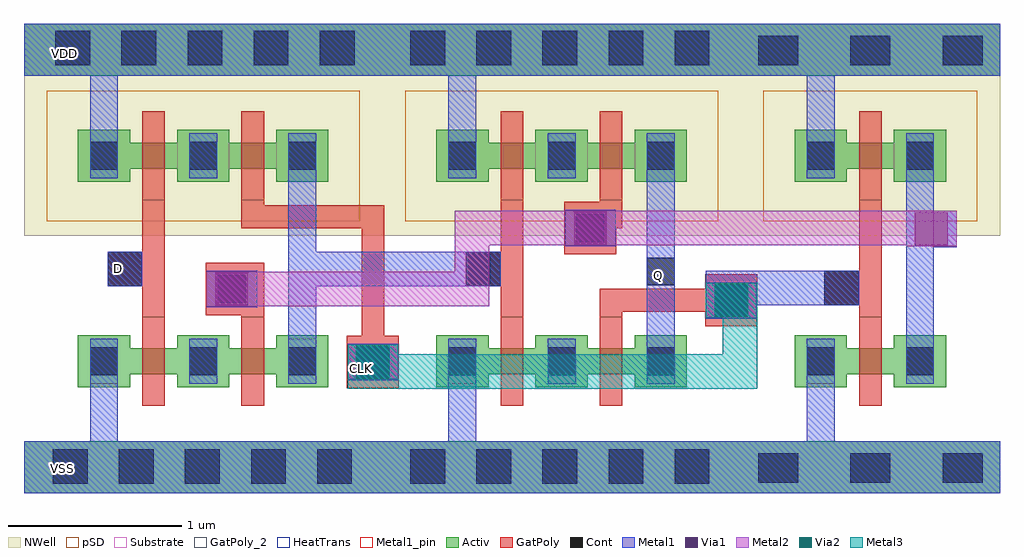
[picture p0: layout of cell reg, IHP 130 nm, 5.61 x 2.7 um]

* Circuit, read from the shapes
.subckt reg CLK D Q VDD VSS
XM1 n1 D VSS VSS sg13_lv_nmos w=0.15u l=0.13u
XM2 n2 inv_2/VOUT n1 VSS sg13_lv_nmos w=0.15u l=0.13u
XM3 n3 n2 VSS VSS sg13_lv_nmos w=0.15u l=0.13u
XM4 Q CLK n3 VSS sg13_lv_nmos w=0.15u l=0.13u
XM5 inv_2/VOUT CLK VSS VSS sg13_lv_nmos w=0.15u l=0.13u
XM6 n4 D VDD VDD sg13_lv_pmos w=0.15u l=0.13u
XM7 n2 CLK n4 VDD sg13_lv_pmos w=0.15u l=0.13u
XM8 n5 n2 VDD VDD sg13_lv_pmos w=0.15u l=0.13u
XM9 Q inv_2/VOUT n5 VDD sg13_lv_pmos w=0.15u l=0.13u
XM10 inv_2/VOUT CLK VDD VDD sg13_lv_pmos w=0.15u l=0.13u
.ends

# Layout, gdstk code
import gdstk
lib = gdstk.Library(unit=1e-6, precision=5e-09)
def R(c, l, rs):  # rectangles x0, y0, x1, y1
    for r in rs: c.add(gdstk.rectangle(r[:2], r[2:], *l))
def A(c, l, x, y, w, h, nx, ny, dx, dy):  # array of equal rectangles
    R(c, l, [(x+i*dx, y+j*dy, x+i*dx+w, y+j*dy+h) for i in range(nx) for j in range(ny)])
Activ = (1, 0)
GatPoly = (5, 0)
GatPoly_2 = (5, 2)
Cont = (6, 0)
Metal1 = (8, 0)
Metal1_pin = (8, 2)
Metal2 = (10, 0)
pSD = (14, 0)
Via1 = (19, 0)
Via2 = (29, 0)
Metal3 = (30, 0)
NWell = (31, 0)
Substrate = (40, 0)
HeatTrans = (51, 0)

nmos_1 = lib.new_cell('nmos$1')
R(nmos_1, Activ, [(0,0,0.3,0.3), (0.57,0,0.87,0.3), (0,0.075,0.87,0.225)])
R(nmos_1, GatPoly, [(0.37,-0.105,0.5,0.405)])
R(nmos_1, GatPoly_2, [(0.37,-0.105,0.5,0.405)])
R(nmos_1, Cont, [(0.07,0.07,0.23,0.23), (0.64,0.07,0.8,0.23)])
R(nmos_1, Metal1, [(0.07,0.02,0.23,0.28), (0.64,0.02,0.8,0.28)])
R(nmos_1, Metal1_pin, [(0.07,0.02,0.23,0.28), (0.64,0.02,0.8,0.28)])
R(nmos_1, HeatTrans, [(0.37,-0.105,0.5,0.405)])
nmos_1.add(gdstk.Label('nmos', (0.435,0.15), layer=63, texttype=0))
nmos_1.add(gdstk.Label('nmos', (0.435,0.15), layer=51, texttype=0))

pmos_1 = lib.new_cell('pmos$1')
R(pmos_1, Activ, [(0,0,0.3,0.3), (0.57,0,0.87,0.3), (0,0.075,0.87,0.225)])
R(pmos_1, GatPoly, [(0.37,-0.105,0.5,0.405), (0.37,-0.105,0.5,0.405)])
R(pmos_1, Cont, [(0.07,0.07,0.23,0.23), (0.64,0.07,0.8,0.23)])
R(pmos_1, Metal1, [(0.07,0.02,0.23,0.28), (0.07,0.02,0.23,0.28), (0.64,0.02,0.8,0.28), (0.64,0.02,0.8,0.28)])
R(pmos_1, pSD, [(-0.18,-0.225,1.05,0.525)])
R(pmos_1, NWell, [(-0.31,-0.31,1.18,0.61)])
R(pmos_1, Substrate, [(0.57,0,0.87,0.3)])
R(pmos_1, HeatTrans, [(0.37,-0.105,0.5,0.405)])
pmos_1.add(gdstk.Label('pmos', (0.435,0.15), layer=63, texttype=0))
pmos_1.add(gdstk.Label('pmos', (0.435,0.15), layer=51, texttype=0))

pmos_1_1 = lib.new_cell('pmos$1$1')
R(pmos_1_1, Activ, [(0,0,0.3,0.3), (0.57,0,0.87,0.3), (0,0.075,0.87,0.225)])
R(pmos_1_1, GatPoly, [(0.37,-0.105,0.5,0.405), (0.37,-0.105,0.5,0.405)])
R(pmos_1_1, Cont, [(0.07,0.07,0.23,0.23), (0.64,0.07,0.8,0.23)])
R(pmos_1_1, Metal1, [(0.07,0.02,0.23,0.28), (0.07,0.02,0.23,0.28), (0.64,0.02,0.8,0.28), (0.64,0.02,0.8,0.28)])
R(pmos_1_1, pSD, [(-0.18,-0.225,1.05,0.525)])
R(pmos_1_1, NWell, [(-0.31,-0.31,1.18,0.61)])
R(pmos_1_1, Substrate, [(0.57,0,0.87,0.3)])
R(pmos_1_1, HeatTrans, [(0.37,-0.105,0.5,0.405)])
pmos_1_1.add(gdstk.Label('pmos', (0.435,0.15), layer=63, texttype=0))
pmos_1_1.add(gdstk.Label('pmos', (0.435,0.15), layer=51, texttype=0))

nmos_1_1 = lib.new_cell('nmos$1$1')
R(nmos_1_1, Activ, [(0,0,0.3,0.3), (0.57,0,0.87,0.3), (0,0.075,0.87,0.225)])
R(nmos_1_1, GatPoly, [(0.37,-0.105,0.5,0.405)])
R(nmos_1_1, GatPoly_2, [(0.37,-0.105,0.5,0.405)])
R(nmos_1_1, Cont, [(0.07,0.07,0.23,0.23), (0.64,0.07,0.8,0.23)])
R(nmos_1_1, Metal1, [(0.07,0.02,0.23,0.28), (0.64,0.02,0.8,0.28)])
R(nmos_1_1, Metal1_pin, [(0.07,0.02,0.23,0.28), (0.64,0.02,0.8,0.28)])
R(nmos_1_1, HeatTrans, [(0.37,-0.105,0.5,0.405)])
nmos_1_1.add(gdstk.Label('nmos', (0.435,0.15), layer=63, texttype=0))
nmos_1_1.add(gdstk.Label('nmos', (0.435,0.15), layer=51, texttype=0))

inv = lib.new_cell('inv')
R(inv, Activ, [(0.24,0.255,1.73,0.555), (0.24,0.255,1.73,0.555), (0.24,2.655,1.73,2.955), (0.24,2.655,1.73,2.955)])
R(inv, GatPoly, [(0.92,0.76,1.05,2.45), (0.92,0.76,1.05,2.45), (0.72,1.335,0.92,1.535), (0.72,1.335,0.92,1.535)])
R(inv, Cont, [(0.34,0.315,0.57,0.485), (0.34,0.315,0.57,0.485), (0.87,0.315,1.1,0.485), (0.87,0.315,1.1,0.485), (1.4,0.315,1.63,0.485), (1.4,0.315,1.63,0.485), (0.72,1.335,0.92,1.535), (0.72,1.335,0.92,1.535), (0.34,2.715,0.57,2.885), (0.34,2.715,0.57,2.885), (0.87,2.715,1.1,2.885), (0.87,2.715,1.1,2.885), (1.4,2.715,1.63,2.885), (1.4,2.715,1.63,2.885)])
R(inv, Metal1, [(0.24,0.255,1.73,0.555), (0.24,0.255,1.73,0.555), (0.62,0.255,0.78,1.145), (0.62,0.255,0.78,1.145), (1.19,0.885,1.35,2.325), (1.19,0.885,1.35,2.325), (0.72,1.335,0.92,1.535), (0.72,1.335,0.92,1.535), (0.62,2.065,0.78,2.955), (0.62,2.065,0.78,2.955), (0.24,2.655,1.73,2.955), (0.24,2.655,1.73,2.955)])
R(inv, Metal1_pin, [(0.24,0.255,1.73,0.555), (0.24,0.255,1.73,0.555), (1.19,0.885,1.35,2.325), (1.19,0.885,1.35,2.325), (0.72,1.335,0.92,1.535), (0.72,1.335,0.92,1.535), (0.24,2.655,1.73,2.955), (0.24,2.655,1.73,2.955)])
R(inv, pSD, [(0.24,0.255,1.73,0.555), (0.24,0.255,1.73,0.555)])
R(inv, NWell, [(0.24,2.655,1.73,2.955), (0.24,2.655,1.73,2.955)])
inv.add(gdstk.Reference(pmos_1, (0.55,2.045)))
inv.add(gdstk.Reference(nmos_1, (0.55,0.865)))
inv.add(gdstk.Reference(pmos_1_1, (0.55,2.045)))
inv.add(gdstk.Reference(nmos_1_1, (0.55,0.865)))
inv.add(gdstk.Label('VIN', (0.78,1.435), layer=8, texttype=25))
inv.add(gdstk.Label('VSS', (0.95,0.37), layer=8, texttype=25))
inv.add(gdstk.Label('VOUT', (1.2,1.665), layer=8, texttype=25))
inv.add(gdstk.Label('VDD', (0.96,2.805), layer=8, texttype=25))
inv.add(gdstk.Label('VIN', (0.78,1.435), layer=8, texttype=25))
inv.add(gdstk.Label('VSS', (0.95,0.37), layer=8, texttype=25))
inv.add(gdstk.Label('VOUT', (1.2,1.665), layer=8, texttype=25))
inv.add(gdstk.Label('VDD', (0.96,2.805), layer=8, texttype=25))

pmos = lib.new_cell('pmos')
R(pmos, Activ, [(0,0,0.3,0.3), (0.57,0,0.87,0.3), (0,0.075,0.87,0.225)])
R(pmos, GatPoly, [(0.37,-0.105,0.5,0.405), (0.37,-0.105,0.5,0.405)])
R(pmos, Cont, [(0.07,0.07,0.23,0.23), (0.64,0.07,0.8,0.23)])
R(pmos, Metal1, [(0.07,0.02,0.23,0.28), (0.07,0.02,0.23,0.28), (0.64,0.02,0.8,0.28), (0.64,0.02,0.8,0.28)])
R(pmos, pSD, [(-0.18,-0.225,1.05,0.525)])
R(pmos, NWell, [(-0.31,-0.31,1.18,0.61)])
R(pmos, Substrate, [(0.57,0,0.87,0.3)])
R(pmos, HeatTrans, [(0.37,-0.105,0.5,0.405)])
pmos.add(gdstk.Label('pmos', (0.435,0.15), layer=63, texttype=0))
pmos.add(gdstk.Label('pmos', (0.435,0.15), layer=51, texttype=0))

via_stack_1 = lib.new_cell('via_stack$1')
R(via_stack_1, GatPoly, [(-0.15,-0.15,0.15,0.15)])
R(via_stack_1, Cont, [(-0.08,-0.08,0.08,0.08)])
R(via_stack_1, Metal1, [(-0.145,-0.105,0.145,0.105)])
R(via_stack_1, Metal2, [(-0.145,-0.1,0.145,0.1)])
R(via_stack_1, Via1, [(-0.095,-0.095,0.095,0.095)])

via_stack = lib.new_cell('via_stack')
R(via_stack, GatPoly, [(-0.15,-0.15,0.15,0.15)])
R(via_stack, Cont, [(-0.08,-0.08,0.08,0.08)])
R(via_stack, Metal1, [(-0.145,-0.105,0.145,0.105)])
R(via_stack, Metal2, [(-0.145,-0.1,0.145,0.1)])
R(via_stack, Via1, [(-0.095,-0.095,0.095,0.095)])
R(via_stack, Via2, [(-0.095,-0.095,0.095,0.095)])
R(via_stack, Metal3, [(-0.145,-0.1,0.145,0.1)])

via_stack_4 = lib.new_cell('via_stack$4')
R(via_stack_4, Metal1, [(-0.145,-0.105,0.145,0.105)])
R(via_stack_4, Metal2, [(-0.145,-0.1,0.145,0.1)])
R(via_stack_4, Via1, [(-0.095,-0.095,0.095,0.095)])

reg = lib.new_cell('reg')
R(reg, Activ, [(0.045,0.69,2.105,0.99), (2.105,0.69,4.165,0.99), (0.045,3.09,2.105,3.39), (2.105,3.09,4.165,3.39)])
R(reg, GatPoly, [(0.725,1.195,0.855,2.885), (2.785,1.195,2.915,2.885), (1.985,1.365,2.115,2.345), (1.295,1.705,1.425,2.015), (3.355,1.705,3.485,1.865), (3.355,1.735,4.165,1.865), (0.525,1.88,0.725,2.08), (2.585,1.88,2.785,2.08), (1.295,2.215,1.425,2.375), (1.295,2.215,2.105,2.345), (3.355,2.215,3.485,2.375)])
A(reg, Cont, 0.21, 0.745, 0.2, 0.2, 5, 1, 0.38, 0)
A(reg, Cont, 2.265, 0.745, 0.2, 0.2, 5, 2, 0.38, 2.405)
A(reg, Cont, 0.225, 3.15, 0.2, 0.2, 5, 1, 0.38, 0)
R(reg, Cont, [(0.525,1.88,0.725,2.08), (2.585,1.88,2.785,2.08), (3.625,1.885,3.785,2.045)])
R(reg, Metal1, [(0.045,0.69,2.105,0.99), (0.425,0.69,0.585,1.58), (2.105,0.69,4.165,0.99), (2.485,0.69,2.645,1.58), (1.565,1.32,1.725,2.76), (3.625,1.32,3.785,2.76), (3.965,1.77,4.845,1.97), (0.525,1.88,0.725,2.08), (1.565,1.88,2.785,2.08), (2.585,1.88,2.785,2.08), (0.425,2.5,0.585,3.39), (2.485,2.5,2.645,3.39), (0.045,3.09,2.105,3.39), (2.105,3.09,4.165,3.39)])
R(reg, Metal1_pin, [(0.045,0.69,2.105,0.99), (0.045,0.69,2.105,0.99), (2.105,0.69,4.165,0.99), (2.105,0.69,4.165,0.99), (3.625,1.32,3.785,2.76), (0.525,1.88,0.725,2.08), (2.585,1.88,2.785,2.08), (0.045,3.09,2.105,3.39), (0.045,3.09,2.105,3.39), (2.105,3.09,4.165,3.39), (2.105,3.09,4.165,3.39)])
R(reg, Metal2, [(1.095,1.765,2.72,1.965), (2.52,1.765,2.72,2.315), (2.52,2.115,5.405,2.315)])
R(reg, pSD, [(0.045,0.69,2.105,0.99), (2.105,0.69,4.165,0.99)])
R(reg, Metal3, [(1.905,1.29,4.26,1.49), (4.06,1.29,4.26,1.9)])
R(reg, NWell, [(0.045,3.09,2.105,3.39), (2.105,3.09,4.165,3.39)])
reg.add(gdstk.Reference(nmos_1, (0.355,1.3)))
reg.add(gdstk.Reference(nmos_1, (0.925,1.3)))
reg.add(gdstk.Reference(inv, (3.925,0.435)))
reg.add(gdstk.Reference(pmos, (0.925,2.48)))
reg.add(gdstk.Reference(pmos, (0.355,2.48)))
reg.add(gdstk.Reference(nmos_1, (2.985,1.3)))
reg.add(gdstk.Reference(pmos, (2.985,2.48)))
reg.add(gdstk.Reference(nmos_1, (2.415,1.3)))
reg.add(gdstk.Reference(pmos, (2.415,2.48)))
reg.add(gdstk.Reference(via_stack_1, (1.24,1.865)))
reg.add(gdstk.Reference(via_stack_1, (3.3,2.215)))
reg.add(gdstk.Reference(via_stack, (2.05,1.445)))
reg.add(gdstk.Reference(via_stack, (4.11,1.8)))
reg.add(gdstk.Reference(via_stack_4, (5.26,2.21)))
reg.add(gdstk.Label('VSS', (0.265,0.835), layer=8, texttype=25))
reg.add(gdstk.Label('VDD', (0.275,3.22), layer=8, texttype=25))
reg.add(gdstk.Label('D', (0.59,1.98), layer=8, texttype=25))
reg.add(gdstk.Label('Q', (3.69,1.94), layer=8, texttype=25))
reg.add(gdstk.Label('CLK', (1.985,1.405), layer=30, texttype=25))

lib.write_gds('reg.gds')
